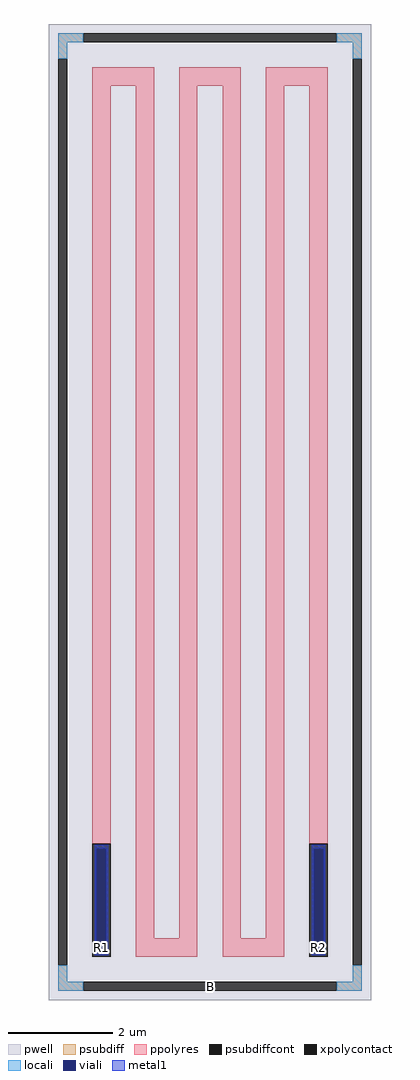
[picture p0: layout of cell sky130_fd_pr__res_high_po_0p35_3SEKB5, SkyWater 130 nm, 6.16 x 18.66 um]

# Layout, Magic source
magic
tech sky130A
magscale 1 2
<< pwell >>
rect -616 -1866 616 1866
<< psubdiff >>
rect -580 1796 -484 1830
rect 484 1796 580 1830
rect -580 1734 -546 1796
rect 546 1734 580 1796
rect -580 -1796 -546 -1734
rect 546 -1796 580 -1734
rect -580 -1830 -484 -1796
rect 484 -1830 580 -1796
<< psubdiffcont >>
rect -484 1796 484 1830
rect -580 -1734 -546 1734
rect 546 -1734 580 1734
rect -484 -1830 484 -1796
<< xpolycontact >>
rect -450 -1700 -380 -1268
rect 380 -1700 450 -1268
<< ppolyres >>
rect -450 1630 -214 1700
rect -450 -1268 -380 1630
rect -284 -1630 -214 1630
rect -118 1630 118 1700
rect -118 -1630 -48 1630
rect -284 -1700 -48 -1630
rect 48 -1630 118 1630
rect 214 1630 450 1700
rect 214 -1630 284 1630
rect 48 -1700 284 -1630
rect 380 -1268 450 1630
<< locali >>
rect -580 1796 -484 1830
rect 484 1796 580 1830
rect -580 1734 -546 1796
rect 546 1734 580 1796
rect -580 -1796 -546 -1734
rect 546 -1796 580 -1734
rect -580 -1830 -484 -1796
rect 484 -1830 580 -1796
<< viali >>
rect -434 -1682 -396 -1285
rect 396 -1682 434 -1285
<< metal1 >>
rect -440 -1285 -390 -1273
rect -440 -1682 -434 -1285
rect -396 -1682 -390 -1285
rect -440 -1694 -390 -1682
rect 390 -1285 440 -1273
rect 390 -1682 396 -1285
rect 434 -1682 440 -1285
rect 390 -1694 440 -1682
<< labels >>
rlabel psubdiffcont 0 -1813 0 -1813 0 B
port 1 nsew
rlabel xpolycontact -415 -1665 -415 -1665 0 R1
port 2 nsew
rlabel xpolycontact 415 -1665 415 -1665 0 R2
port 3 nsew
<< properties >>
string FIXED_BBOX -563 -1813 563 1813
string gencell sky130_fd_pr__res_high_po_0p35
string library sky130
string parameters w 0.35 l 17.0 m 1 nx 6 wmin 0.350 lmin 0.50 class resistor rho 319.8 val 95.911k dummy 0 dw 0.0 term 194.82 sterm 0.0 caplen 0 guard 1 glc 1 grc 1 gtc 1 gbc 1 compatible {sky130_fd_pr__res_high_po_0p35  sky130_fd_pr__res_high_po_0p69 sky130_fd_pr__res_high_po_1p41  sky130_fd_pr__res_high_po_2p85 sky130_fd_pr__res_high_po_5p73} snake 1 full_metal 1 wmax 0.350 vias 1 n_guard 0 hv_guard 0 viagb 0 viagt 0 viagl 0 viagr 0 doports 1
<< end >>
